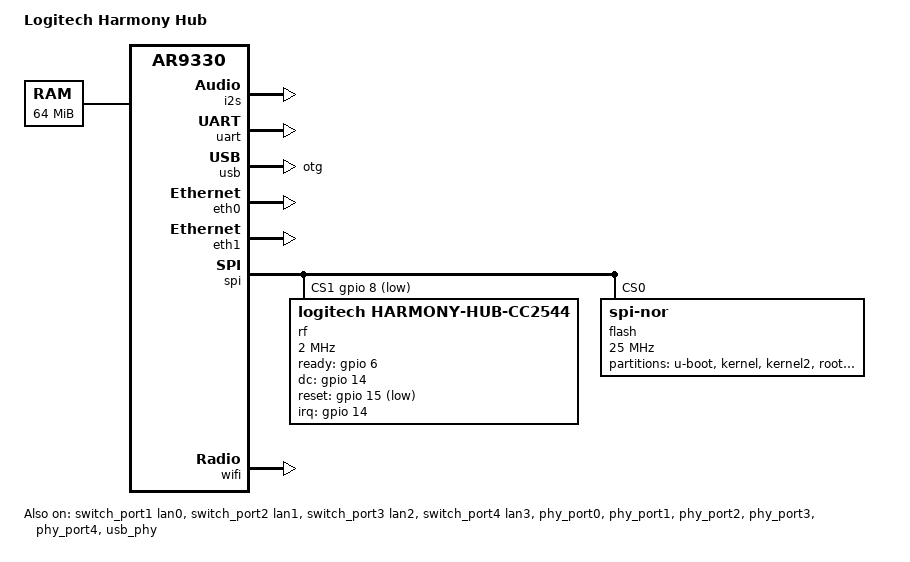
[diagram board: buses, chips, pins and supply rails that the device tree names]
// SPDX-License-Identifier: GPL-2.0
/*
 * Logitech Harmony Hub (Atheros AR9330 "Hornet", 64 MB DDR, 16 MB SPI NOR).
 *
 * Stock partition table up to root; the stock data and cache partitions are one (data + state,
 * below). u-boot and mfg (calibration) are read-only. kernel/kernel2 and root are writable: the
 * system writes its kernel and its root file system (build/kernel6/init.c, hub_util
 * flash-image), or the stock ones to go back (hub_util restore).
 * GPIO users (LEDs, buttons, CC2544 IRQ, BT reset) are added once their numbers are read
 * from the stock kernel.
 *
 * The CC2544 RF chip shares the SPI bus with the flash (native CS0); its chip select is GPIO 8
 * (build/kernel6/drivers/harmony_cc2544.c, as the stock cc2544.ko). The SPI core serialises
 * flash and RF transfers, and Linux runs from RAM, not from the flash.
 */
/dts-v1/;

#include <dt-bindings/gpio/gpio.h>
#include <dt-bindings/interrupt-controller/irq.h>

#include "ar9331.dtsi"

/ {
	model = "Logitech Harmony Hub";
	compatible = "logitech,harmony-hub", "qca,ar9330";

	aliases {
		serial0 = &uart;
	};

	chosen {
		/* the stock U-Boot passes console=none: its UART is also the CSR8811 BCSP link */
		bootargs = "console=ttyATH0,115200";
	};

	memory@0 {
		device_type = "memory";
		reg = <0x0 0x4000000>;
	};

	/*
	 * Pair button and front light, stock "Pimento" interface (build/kernel6/drivers/
	 * harmony_pimento.c). reg: GPIO_FUNCTION_1, for the JTAG disable bit.
	 */
	pimento {
		compatible = "logitech,harmony-hub-pimento";
		reg = <0x18040028 0x4>;
		button-gpios = <&gpio 11 GPIO_ACTIVE_LOW>;
		red-gpios = <&gpio 1 GPIO_ACTIVE_LOW>;
		green-gpios = <&gpio 17 GPIO_ACTIVE_LOW>;
	};

	ahb {
		apb {
			/* ar9331.dtsi has no watchdog node; same block as on the AR9132 */
			wdt: wdt@18060008 {
				compatible = "qca,ar7130-wdt";
				reg = <0x18060008 0x8>;

				interrupts = <4>;

				clocks = <&pll ATH79_CLK_AHB>;
				clock-names = "wdt";
			};

			/*
			 * IR blaster and receiver (build/kernel6/drivers/harmony_i2s.c): MBOX DMA, stereo
			 * block, GPIO_FUNCTION_1. The three IR outputs are enabled by active-low GPIOs.
			 */
			i2s: i2s@180b0000 {
				compatible = "logitech,harmony-hub-i2s";
				reg = <0x180a0000 0x100>, <0x180b0000 0x40>, <0x18040028 0x4>;
				interrupts = <7>;
				resets = <&rst 0>;
				ir-gpios = <&gpio 16 GPIO_ACTIVE_LOW>, <&gpio 28 GPIO_ACTIVE_LOW>,
					   <&gpio 13 GPIO_ACTIVE_LOW>;
			};
		};
	};
};

/* bootstrap register 0x180600ac reads 0x00021207 on a Hub: REF_CLK_40 set */
&ref {
	clock-frequency = <40000000>;
};

&uart {
	status = "okay";
};

&gpio {
	status = "okay";
};

/*
 * Device mode (USB network to a PC) by default, host mode for USB Ethernet adapters and USB
 * sticks. The controller is OTG capable but its ID pin is not wired (reads 0, "host"), so the
 * role is set from userland: echo gadget|host > /sys/bus/platform/devices/1b000000.usb/ci_hdrc.0/role
 * (rc.sh sets gadget at boot).
 */
&usb {
	dr_mode = "otg";
	status = "okay";
};

/*
 * Ethernet of the Harmony Hub Pro 2400 (the plain Hub has no jack). Which switch port the RJ45
 * uses is not known: both MACs and the internal switch (DSA, ports lan0-3) are enabled, all as
 * modules, and userland uses the interface that has a link.
 */
&eth0 {
	nvmem-cells = <&macaddr_mfg_1002 1>;
	nvmem-cell-names = "mac-address";
	status = "okay";
};

&eth1 {
	nvmem-cells = <&macaddr_mfg_1002 2>;
	nvmem-cell-names = "mac-address";
	status = "okay";
};

&switch_port1 {
	label = "lan0";
	status = "okay";
};

&switch_port2 {
	label = "lan1";
	status = "okay";
};

&switch_port3 {
	label = "lan2";
	status = "okay";
};

&switch_port4 {
	label = "lan3";
	status = "okay";
};

&phy_port0 {
	status = "okay";
};

&phy_port1 {
	status = "okay";
};

&phy_port2 {
	status = "okay";
};

&phy_port3 {
	status = "okay";
};

&phy_port4 {
	status = "okay";
};


&usb_phy {
	/*
	 * phy-ath79-usb asks for "usb-suspend-override"; ar9331.dtsi names it "suspend-override",
	 * so the override was never set, the PHY stayed suspended and no host saw the gadget.
	 */
	reset-names = "phy", "usb-suspend-override";
	status = "okay";
};

&spi {
	num-chipselects = <2>;
	cs-gpios = <0>, <&gpio 8 GPIO_ACTIVE_LOW>;
	status = "okay";

	/* CC2544 RF transceiver of the Harmony remotes (/dev/rfspi) */
	rf@1 {
		compatible = "logitech,harmony-hub-cc2544";
		reg = <1>;
		spi-max-frequency = <2000000>;
		ready-gpios = <&gpio 6 GPIO_ACTIVE_HIGH>;
		interrupt-parent = <&gpio>;
		interrupts = <14 IRQ_TYPE_LEVEL_HIGH>;
		/* /dev/rffw (the CC2544's flash, 8051 debug interface): debug data is the ready
		 * line, debug clock the interrupt line. GPIO 15 resets the CC2544; the stock module
		 * held it high, and the CSR8811 Bluetooth needs it high too ("Initialization timed
		 * out" from bccmd otherwise): the driver drives it high at probe. */
		dc-gpios = <&gpio 14 GPIO_ACTIVE_HIGH>;
		reset-gpios = <&gpio 15 GPIO_ACTIVE_LOW>;
	};

	flash@0 {
		compatible = "jedec,spi-nor";
		reg = <0>;
		spi-max-frequency = <25000000>;

		partitions {
			compatible = "fixed-partitions";
			#address-cells = <1>;
			#size-cells = <1>;

			partition@0 {
				label = "u-boot";
				reg = <0x000000 0x010000>;
				read-only;
			};

			partition@10000 {
				label = "kernel";
				reg = <0x010000 0x0f0000>;
			};

			partition@100000 {
				label = "kernel2";
				reg = <0x100000 0x0f0000>;
			};

			partition@1f0000 {
				label = "root";
				reg = <0x1f0000 0x400000>;
			};

			/*
			 * The stock data and cache partitions as one JFFS2 file system (overlay upper
			 * layer and /cache), less the last 64 KB: "state", raw, whose marker says the
			 * stock cache file system in the second half was erased (build/kernel6/init.c).
			 */
			partition@5f0000 {
				label = "data";
				reg = <0x5f0000 0x9f0000>;
			};

			partition@fe0000 {
				label = "state";
				reg = <0xfe0000 0x010000>;
			};

			partition@ff0000 {
				label = "mfg";
				reg = <0xff0000 0x010000>;
				read-only;

				nvmem-layout {
					compatible = "fixed-layout";
					#address-cells = <1>;
					#size-cells = <1>;

					/* Atheros ART calibration; Logitech data (hw_ver) is at 0x9000 */
					cal_mfg_1000: calibration@1000 {
						reg = <0x1000 0x440>;
					};

					/* Wi-Fi MAC (inside the calibration data). The mfg partition holds no
					 * Ethernet MAC (0x0 and 0x6 are erased): the Pro 2400's MACs are this
					 * one + 1 (eth0) and + 2 (eth1), fixed instead of random at each boot. */
					macaddr_mfg_1002: macaddr@1002 {
						compatible = "mac-base";
						reg = <0x1002 0x6>;
						#nvmem-cell-cells = <1>;
					};
				};
			};
		};
	};
};

&wifi {
	nvmem-cells = <&cal_mfg_1000>;
	nvmem-cell-names = "calibration";
	status = "okay";
};
